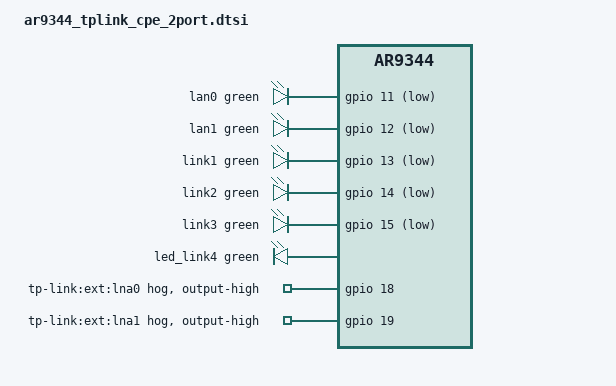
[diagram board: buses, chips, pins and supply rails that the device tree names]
// SPDX-License-Identifier: GPL-2.0-or-later OR MIT

#include "ar9344_tplink_cpe.dtsi"

/ {
	aliases {
		led-boot = &led_link4;
		led-failsafe = &led_link4;
		led-running = &led_link4;
		led-upgrade = &led_link4;
	};

	leds {
		compatible = "gpio-leds";

		lan0 {
			function = LED_FUNCTION_LAN;
			function-enumerator = <0>;
			color = <LED_COLOR_ID_GREEN>;
			gpios = <&gpio 11 GPIO_ACTIVE_LOW>;
		};

		lan1 {
			function = LED_FUNCTION_LAN;
			function-enumerator = <1>;
			color = <LED_COLOR_ID_GREEN>;
			gpios = <&gpio 12 GPIO_ACTIVE_LOW>;
		};

		link1 {
			function = LED_FUNCTION_RSSI;
			function-enumerator = <1>;
			color = <LED_COLOR_ID_GREEN>;
			gpios = <&gpio 13 GPIO_ACTIVE_LOW>;
		};

		link2 {
			function = LED_FUNCTION_RSSI;
			function-enumerator = <2>;
			color = <LED_COLOR_ID_GREEN>;
			gpios = <&gpio 14 GPIO_ACTIVE_LOW>;
		};

		link3 {
			function = LED_FUNCTION_RSSI;
			function-enumerator = <3>;
			color = <LED_COLOR_ID_GREEN>;
			gpios = <&gpio 15 GPIO_ACTIVE_LOW>;
		};

		led_link4: link4 {
			function = LED_FUNCTION_RSSI;
			function-enumerator = <4>;
			color = <LED_COLOR_ID_GREEN>;
		};
	};
};

&gpio {
	gpio_ext_lna0 {
		gpio-hog;
		gpios = <18 0>;
		output-high;
		line-name = "tp-link:ext:lna0";
	};

	gpio_ext_lna1 {
		gpio-hog;
		gpios = <19 0>;
		output-high;
		line-name = "tp-link:ext:lna1";
	};
};

&eth1 {
	mtd-mac-address = <&info 0x8>;

	gmac-config {
		device = <&gmac>;
		switch-phy-swap = <0>;
		switch-only-mode = <1>;
	};
};
